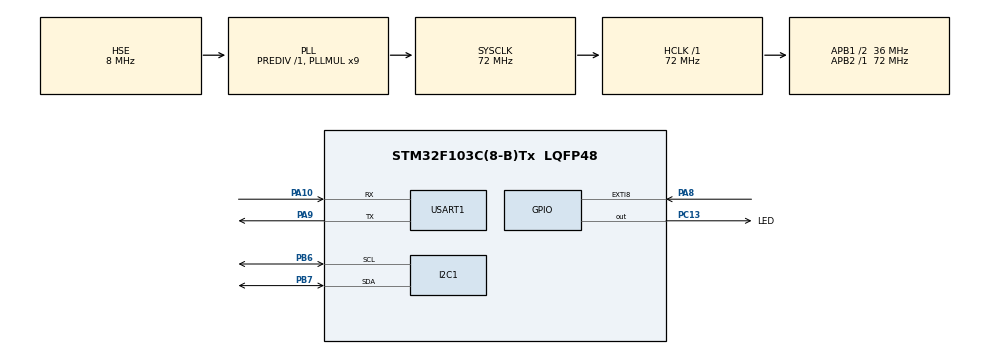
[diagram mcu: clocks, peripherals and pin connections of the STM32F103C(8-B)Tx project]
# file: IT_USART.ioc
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Dma.MEMTOMEM.2.Direction=DMA_MEMORY_TO_MEMORY
Dma.MEMTOMEM.2.Instance=DMA1_Channel1
Dma.MEMTOMEM.2.MemDataAlignment=DMA_MDATAALIGN_BYTE
Dma.MEMTOMEM.2.MemInc=DMA_MINC_ENABLE
Dma.MEMTOMEM.2.Mode=DMA_NORMAL
Dma.MEMTOMEM.2.PeriphDataAlignment=DMA_PDATAALIGN_BYTE
Dma.MEMTOMEM.2.PeriphInc=DMA_PINC_ENABLE
Dma.MEMTOMEM.2.Priority=DMA_PRIORITY_LOW
Dma.Request0=USART1_RX
Dma.Request1=USART1_TX
Dma.Request2=MEMTOMEM
Dma.USART1_RX.0.Direction=DMA_PERIPH_TO_MEMORY
Dma.USART1_RX.0.Instance=DMA1_Channel5
Dma.USART1_RX.0.MemDataAlignment=DMA_MDATAALIGN_BYTE
Dma.USART1_RX.0.MemInc=DMA_MINC_ENABLE
Dma.USART1_RX.0.Mode=DMA_NORMAL
Dma.USART1_RX.0.PeriphDataAlignment=DMA_PDATAALIGN_BYTE
Dma.USART1_RX.0.PeriphInc=DMA_PINC_DISABLE
Dma.USART1_RX.0.Priority=DMA_PRIORITY_MEDIUM
Dma.USART1_TX.1.Direction=DMA_MEMORY_TO_PERIPH
Dma.USART1_TX.1.Instance=DMA1_Channel4
Dma.USART1_TX.1.MemDataAlignment=DMA_MDATAALIGN_BYTE
Dma.USART1_TX.1.MemInc=DMA_MINC_ENABLE
Dma.USART1_TX.1.Mode=DMA_NORMAL
Dma.USART1_TX.1.PeriphDataAlignment=DMA_PDATAALIGN_BYTE
Dma.USART1_TX.1.PeriphInc=DMA_PINC_DISABLE
Dma.USART1_TX.1.Priority=DMA_PRIORITY_MEDIUM
I2C1.I2C_Mode=I2C_Standard
Mcu.Family=STM32F1
Mcu.Name=STM32F103C(8-B)Tx
Mcu.Package=LQFP48
NVIC.DMA1_Channel4_IRQn=true\:1\:0\:true\:false\:true\:false\:true\:true
NVIC.DMA1_Channel5_IRQn=true\:1\:0\:true\:false\:true\:false\:true\:true
NVIC.EXTI9_5_IRQn=true\:2\:0\:true\:false\:true\:true\:true\:true
NVIC.PriorityGroup=NVIC_PRIORITYGROUP_4
NVIC.USART1_IRQn=true\:1\:0\:true\:false\:true\:true\:true\:true
PA10.Mode=Asynchronous
PA10.Signal=USART1_RX
PA13.Mode=Serial_Wire
PA13.Signal=SYS_JTMS-SWDIO
PA14.Mode=Serial_Wire
PA14.Signal=SYS_JTCK-SWCLK
PA8.GPIO_ModeDefaultEXTI=GPIO_MODE_IT_FALLING
PA8.GPIO_PuPd=GPIO_PULLUP
PA8.Signal=GPXTI8
PA9.Mode=Asynchronous
PA9.Signal=USART1_TX
PB6.Mode=I2C
PB6.Signal=I2C1_SCL
PB7.Mode=I2C
PB7.Signal=I2C1_SDA
PC13-TAMPER-RTC.GPIO_Label=LED
PC13-TAMPER-RTC.GPIO_PuPd=GPIO_PULLUP
PC13-TAMPER-RTC.GPIO_Speed=GPIO_SPEED_FREQ_LOW
PC13-TAMPER-RTC.PinState=GPIO_PIN_SET
PC13-TAMPER-RTC.Signal=GPIO_Output
PD0-OSC_IN.Mode=HSE-External-Oscillator
PD0-OSC_IN.Signal=RCC_OSC_IN
PD1-OSC_OUT.Mode=HSE-External-Oscillator
PD1-OSC_OUT.Signal=RCC_OSC_OUT
ProjectManager.HeapSize=0x200
ProjectManager.StackSize=0x400
ProjectManager.TargetToolchain=MDK-ARM V5.32
RCC.AHBFreq_Value=72000000
RCC.APB1CLKDivider=RCC_HCLK_DIV2
RCC.APB1Freq_Value=36000000
RCC.APB1TimFreq_Value=72000000
RCC.APB2Freq_Value=72000000
RCC.APB2TimFreq_Value=72000000
RCC.HCLKFreq_Value=72000000
RCC.PLLMUL=RCC_PLL_MUL9
RCC.PLLSourceVirtual=RCC_PLLSOURCE_HSE
RCC.SYSCLKFreq_VALUE=72000000
RCC.SYSCLKSource=RCC_SYSCLKSOURCE_PLLCLK
RCC.USBFreq_Value=72000000
USART1.VirtualMode=VM_ASYNC
board=custom

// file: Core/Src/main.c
/* USER CODE BEGIN Header */
/**
  ******************************************************************************
  * @file           : main.c
  * @brief          : Main program body
  ******************************************************************************
  * @attention
  *
  * Copyright (c) 2024 STMicroelectronics.
  * All rights reserved.
  *
  * This software is licensed under terms that can be found in the LICENSE file
  * in the root directory of this software component.
  * If no LICENSE file comes with this software, it is provided AS-IS.
  *
  ******************************************************************************
  */
/* USER CODE END Header */
#include "main.h"
#include "dma.h"
#include "i2c.h"
#include "usart.h"
#include "gpio.h"

/* USER CODE BEGIN Includes */
#include "oled.h"

/* USER CODE END Includes */

void SystemClock_Config(void);

int main(void)
{
  /* USER CODE BEGIN 1 */
//	const char message[] = "hello windows!\r\n";  //定义数据发送数组

  /* USER CODE END 1 */

  /* MCU Configuration--------------------------------------------------------*/

  /* Reset of all peripherals, Initializes the Flash interface and the Systick. */
  HAL_Init();

  /* Configure the system clock */
  SystemClock_Config();

  /* Initialize all configured peripherals */
  MX_GPIO_Init();
  MX_DMA_Init();
  MX_USART1_UART_Init();
  MX_I2C1_Init();
  /* USER CODE BEGIN 2 */
	OLED_Init();
	OLED_Clear();
	OLED_ShowString(0,0,"hello",6);
	OLED_Clear();
	OLED_ShowPic(5,5,bmp);
	// 开启串口接收中断
  HAL_UART_Receive_IT(&huart1, (uint8_t *)&usart1Recv.recvData, 1);
  /* USER CODE END 2 */

  /* Infinite loop */
  while (1)
  {

    /* USER CODE BEGIN 3 */
		if(usart1Recv.recvFlag == 1)
		{
			usart1Recv.recvFlag = 0;
			if(strcmp(usart1Recv.recvBuff, "LED\r") == 0)
			{
				// 发送数据
				printf(usart1Recv.recvBuff);
				printf("temp is %d\r\n",temp);
				HAL_GPIO_TogglePin(GPIOC,GPIO_PIN_13);

			}
			// 发送数据
			printf("UART_FLAG\r\n");
			memset(usart1Recv.recvBuff,0,sizeof(usart1Recv.recvBuff));
		}

  }
  /* USER CODE END 3 */
}

void SystemClock_Config(void)
{
  RCC_OscInitTypeDef RCC_OscInitStruct = {0};
  RCC_ClkInitTypeDef RCC_ClkInitStruct = {0};

  /** Initializes the RCC Oscillators according to the specified parameters
  * in the RCC_OscInitTypeDef structure.
  */
  RCC_OscInitStruct.OscillatorType = RCC_OSCILLATORTYPE_HSE;
  RCC_OscInitStruct.HSEState = RCC_HSE_ON;
  RCC_OscInitStruct.HSEPredivValue = RCC_HSE_PREDIV_DIV1;
  RCC_OscInitStruct.HSIState = RCC_HSI_ON;
  RCC_OscInitStruct.PLL.PLLState = RCC_PLL_ON;
  RCC_OscInitStruct.PLL.PLLSource = RCC_PLLSOURCE_HSE;
  RCC_OscInitStruct.PLL.PLLMUL = RCC_PLL_MUL9;
  if (HAL_RCC_OscConfig(&RCC_OscInitStruct) != HAL_OK)
  {
    Error_Handler();
  }

  /** Initializes the CPU, AHB and APB buses clocks
  */
  RCC_ClkInitStruct.ClockType = RCC_CLOCKTYPE_HCLK|RCC_CLOCKTYPE_SYSCLK
                              |RCC_CLOCKTYPE_PCLK1|RCC_CLOCKTYPE_PCLK2;
  RCC_ClkInitStruct.SYSCLKSource = RCC_SYSCLKSOURCE_PLLCLK;
  RCC_ClkInitStruct.AHBCLKDivider = RCC_SYSCLK_DIV1;
  RCC_ClkInitStruct.APB1CLKDivider = RCC_HCLK_DIV2;
  RCC_ClkInitStruct.APB2CLKDivider = RCC_HCLK_DIV1;

  if (HAL_RCC_ClockConfig(&RCC_ClkInitStruct, FLASH_LATENCY_2) != HAL_OK)
  {
    Error_Handler();
  }
}

void Error_Handler(void)
{
  __disable_irq();
  while (1)
  {
  }
}
